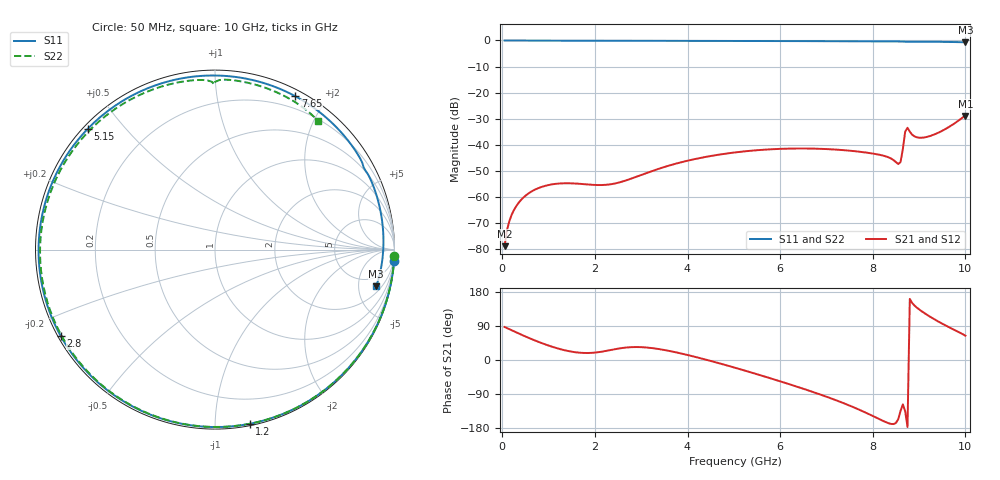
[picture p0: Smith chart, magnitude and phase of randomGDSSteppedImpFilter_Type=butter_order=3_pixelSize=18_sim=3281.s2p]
! freq	dB(S11)	phase(S11)	dB(S12)	phase(S12)
!  dB(S21)	phase(S21)	dB(S22)	phase(S22)
!S-par simulation data
#  GHz  S  DB  R 50
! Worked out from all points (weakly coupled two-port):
!   200 points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, 50 MHz to 10 GHz, reference 50 ohm
!   highest |S21| = -28.92 dB at 10 GHz (marker M1); lowest = -78.9 dB at 50 MHz (marker M2)
!   lowest |S11| = -0.7 dB at 10 GHz (marker M3), VSWR 24.49, Z = 144 - j391 ohm
!   |S11| at or under -10 dB: nowhere
!   |S22| runs from -0.7 to 0.0 dB; largest |S21 - S12| = 0
!   S11 on the Smith chart (normalised r, x): 50 MHz: 0, -32; 1.2 GHz: 0.01, -1.22; 2.8 GHz: 0.01, -0.26; 5.15 GHz: 0.01, +0.40; 7.65 GHz: 0.07, +1.65; 10 GHz: 2.88, -7.83
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0.05  -0.00 -3.6  -78.92 87.1  -78.92 87.1  -0.00 -2.2
0.15  -0.01 -10.7  -69.43 81.4  -69.43 81.4  -0.01 -6.6
0.4  -0.04 -28.2  -61.28 67.5  -61.28 67.5  -0.02 -17.4
0.8  -0.07 -54.7  -56.50 47.0  -56.50 47.0  -0.04 -34.4
1.2  -0.09 -78.8  -54.93 30.4  -54.93 30.4  -0.06 -50.8
1.75  -0.11 -107.4  -55.11 18.6  -55.11 18.6  -0.09 -72.2
2.3  -0.12 -131.6  -55.27 25.4  -55.27 25.4  -0.11 -92.1
2.8  -0.13 -150.8  -52.90 34.0  -52.90 34.0  -0.12 -108.8
3.4  -0.14 -171.2  -49.10 28.5  -49.10 28.5  -0.14 -127.5
4.2  -0.16 164.1  -45.35 7.2  -45.35 7.2  -0.17 -150.4
5.05  -0.19 139.3  -42.90 -21.3  -42.90 -21.3  -0.21 -173.2
5.15  -0.20 136.5  -42.70 -24.8  -42.70 -24.8  -0.21 -175.8
5.95  -0.23 113.4  -41.63 -54.3  -41.63 -54.3  -0.26 163.6
6.7  -0.26 91.4  -41.49 -84.0  -41.49 -84.0  -0.30 144.3
7.65  -0.31 62.4  -42.56 -128.1  -42.56 -128.1  -0.36 119.2
8.35  -0.37 40.3  -44.92 -167.2  -44.92 -167.2  -0.42 99.9
8.6  -0.40 32.2  -46.63 -134.4  -46.63 -134.4  -0.51 92.5
8.7  -0.48 29.0  -34.99 -135.6  -34.99 -135.6  -0.73 90.3
8.75  -0.48 27.8  -33.50 -176.9  -33.50 -176.9  -0.60 90.2
8.9  -0.44 22.9  -36.80 143.7  -36.80 143.7  -0.45 85.2
9.15  -0.47 14.8  -37.08 120.9  -37.08 120.9  -0.48 77.6
10  -0.71 -12.9  -28.92 64.1  -28.92 64.1  -0.73 51.4
